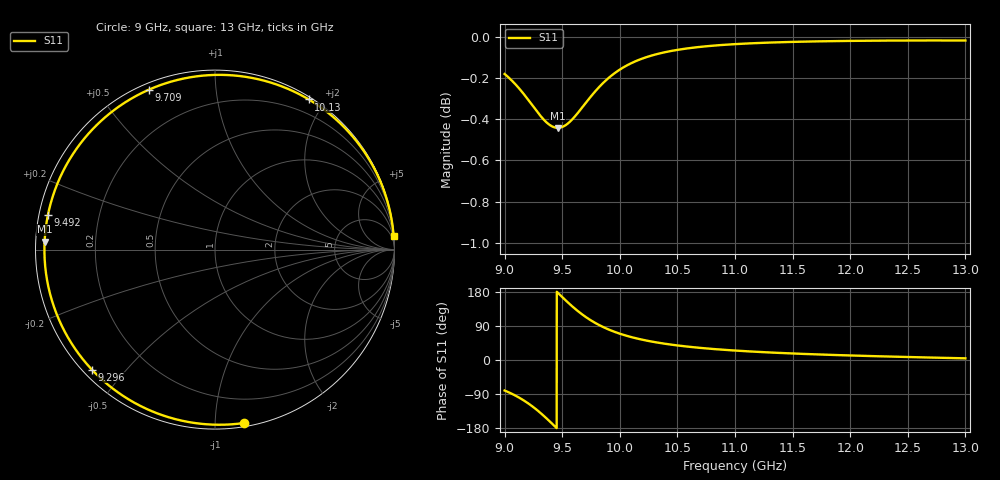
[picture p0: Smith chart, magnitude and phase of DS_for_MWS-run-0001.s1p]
! TOUCHSTONE file generated by CST DESIGN STUDIO
! Date and time: Tue Feb  4 14:05:30 2025
! Project name: C:\Work\MatlabApps\UnitCellOptimizationMatlab\CST\unitcell.cst
! Tree item: Tasks\Sweep1\SPara1\S-Parameters
! Header version: 2024
! Port assignment regex: !\s*Touchstone port\s*([0-9]+)\s*=\s*(CST MWS port|CST DES external port|CST DES block port)\s*(.+)\s* \(\"(.*)\"\)(\s*mode\s*([0-9]+))?.*
! Touchstone port assignment:
! Touchstone port 1 = CST DES external port 1 ("")
# GHz S MA R 50
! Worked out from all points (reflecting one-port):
!   4001 points, 9 GHz to 13 GHz, reference 50 ohm
!   lowest |S11| = -0.4 dB at 9.462 GHz (marker M1), VSWR 39.34, Z = 1.27 + j1.18 ohm
!   phase of S11 starts at -81 deg and turns -275 deg over the sweep
!   S11 on the Smith chart (normalised r, x): 9 GHz: 0.02, -1.18; 9.296 GHz: 0.03, -0.41; 9.492 GHz: 0.03, +0.10; 9.709 GHz: 0.03, +0.67; 10.13 GHz: 0.03, +1.80; 13 GHz: 1, +26
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9  0.9795 -80.5
9.092  0.974 -93.6
9.166  0.9686 -106.6
9.233  0.9631 -120.6
9.296  0.958 -135.7
9.339  0.9549 -147.1
9.385  0.9522 -160.0
9.424  0.9509 -171.4
9.462  0.9504 177.3
9.492  0.9507 168.4
9.5  0.9509 166.0
9.55  0.9528 151.7
9.607  0.9563 136.3
9.657  0.96 124.0
9.709  0.9641 112.5
9.766  0.9685 101.5
9.83  0.973 90.7
9.913  0.9779 79.2
10  0.9819 69.4
10.131  0.9864 58.0
10.297  0.99 47.5
10.5  0.9928 38.4
10.723  0.9946 31.3
11  0.996 24.9
11.5  0.9973 17.2
12  0.9978 11.9
12.5  0.998 7.9
13  0.998 4.4
